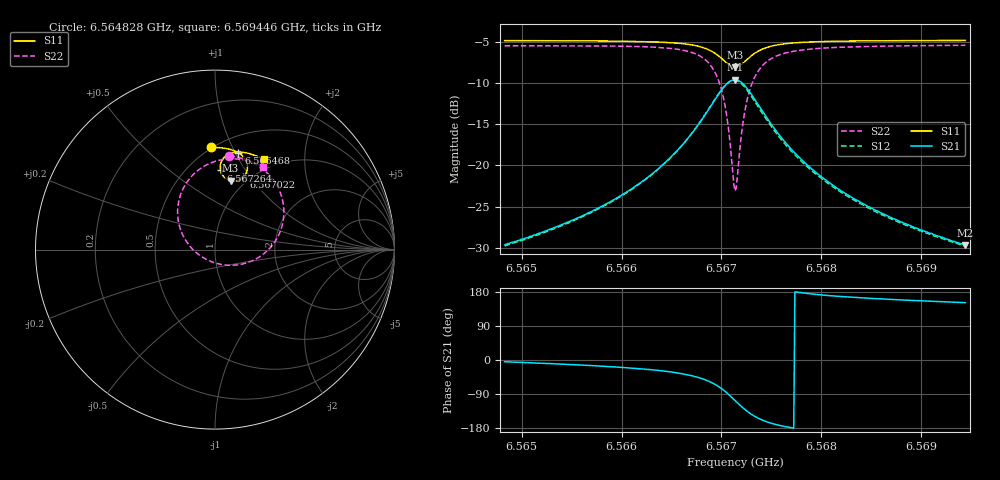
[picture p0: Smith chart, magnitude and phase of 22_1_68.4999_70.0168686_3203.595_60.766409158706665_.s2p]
#  HZ  S  RI  R  50.00
! Rohde & Schwarz Vector Network Analyzer
! Rohde-Schwarz,ZNB20-2Port,1311601062101988,3.16
! Created: UTC 3/20/2024, 4:49:33 PM
! freq[Hz]  re:S11  im:S11  re:S21  im:S21  re:S12  im:S12  re:S22  im:S22
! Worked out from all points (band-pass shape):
!   401 points, 6.564828 GHz to 6.569446 GHz, reference 50 ohm
!   highest |S21| = -9.61 dB at 6.567137 GHz (marker M1); lowest = -29.6 dB at 6.569446 GHz (marker M2)
!   |S21| within 3 dB of the highest: 6.566905 GHz to 6.567368 GHz (462.7 kHz wide, 0.00705 % of centre)
!   lowest |S11| = -8.1 dB at 6.567137 GHz (marker M3), VSWR 2.30, Z = 43.1 + j39.1 ohm
!   |S11| at or under -10 dB: nowhere
!   |S22| runs from -23.1 to -5.4 dB; largest |S21 - S12| = 0.018
!   S11 on the Smith chart (normalised r, x): 6.564828 GHz: 0.49, +0.83; 6.566468 GHz: 0.66, +1.03; 6.567022 GHz: 0.93, +0.93; 6.567264 GHz: 0.71, +0.78; 6.569446 GHz: 0.86, +1.28
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6.5648282e9  -0.0246 0.5689  0.0329 -0.00271  0.0324 -0.00323  0.0805 0.5238
6.5656017e9  0.0411 0.5666  0.0481 -0.0115  0.0473 -0.0122  0.1613 0.5046
6.566052e9  0.084 0.5587  0.0649 -0.0241  0.0638 -0.0249  0.2229 0.477
6.5663753e9  0.1195 0.5457  0.0852 -0.0448  0.0841 -0.0459  0.2825 0.4344
6.5664676e9  0.1309 0.5396  0.0933 -0.0551  0.0919 -0.0563  0.3034 0.4137
6.566687e9  0.1602 0.5146  0.1154 -0.0983  0.1135 -0.1006  0.3587 0.3292
6.5668486e9  0.1791 0.4764  0.124 -0.1661  0.1206 -0.1701  0.3836 0.1981
6.5669525e9  0.1772 0.4356  0.1021 -0.2379  0.0948 -0.2432  0.3444 0.0613
6.5670218e9  0.1584 0.4043  0.0545 -0.2913  0.0426 -0.295  0.2536 -0.0367
6.5670565e9  0.1413 0.3914  0.0167 -0.312  0.00244 -0.3136  0.1821 -0.072
6.5671142e9  0.1033 0.3818  -0.0625 -0.3233  -0.0786 -0.3184  0.0368 -0.0832
6.5671373e9  0.0869 0.3838  -0.0956 -0.3165  -0.1112 -0.3088  -0.0218 -0.0668
6.5671604e9  0.0714 0.3895  -0.1268 -0.3035  -0.1409 -0.2931  -0.0754 -0.0387
6.5672181e9  0.0418 0.4152  -0.1861 -0.2505  -0.1945 -0.2358  -0.1711 0.0646
6.5672643e9  0.0307 0.441  -0.21 -0.1995  -0.2135 -0.1847  -0.2039 0.1574
6.5673566e9  0.0337 0.4856  -0.2113 -0.1132  -0.2091 -0.1019  -0.1912 0.3079
6.5674952e9  0.0613 0.5226  -0.1743 -0.042  -0.1705 -0.0357  -0.1117 0.4271
6.5676568e9  0.0932 0.539  -0.1342 -0.00815  -0.1307 -0.00459  -0.0286 0.4809
6.5679108e9  0.1323 0.544  -0.0943 0.00977  -0.0919 0.0112  0.0593 0.5041
6.5682225e9  0.1683 0.5402  -0.0672 0.0153  -0.0656 0.0161  0.1275 0.5044
6.5686844e9  0.2114 0.5284  -0.0461 0.0166  -0.045 0.017  0.1941 0.4913
6.5694463e9  0.271 0.5027  -0.029 0.0157  -0.0283 0.0159  0.2698 0.4608
